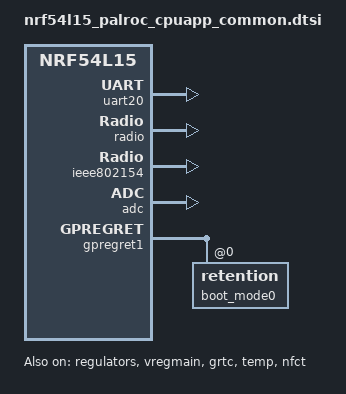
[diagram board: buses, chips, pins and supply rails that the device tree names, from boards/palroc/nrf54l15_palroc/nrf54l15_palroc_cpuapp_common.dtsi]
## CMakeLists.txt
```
#
# Copyright (c) 2016 Intel Corporation
#
# SPDX-License-Identifier: Apache-2.0
#

cmake_minimum_required(VERSION 3.20.0)
find_package(Zephyr REQUIRED HINTS $ENV{ZEPHYR_BASE})
project(nrf54l15_palroc_bringup)

target_sources(app PRIVATE
	src/main.c
	src/test_report.c
	src/uart_chat.c
	# src/wifi_probe.c — Wi-Fi host is the 9151 on EVT1; see
	# evt_bringup/nrf9151_bringup/src/wifi_probe.c
)
```

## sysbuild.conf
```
# Disable MCUboot for bring-up builds.
# Without MCUboot, the app runs directly from address 0x0.
SB_CONFIG_BOOTLOADER_MCUBOOT=n

# nRF7000 Wi-Fi enablement lives on the 9151 side on EVT1 — see
# evt_bringup/nrf9151_bringup/sysbuild.conf for the SB_CONFIG_WIFI_*
# entries. The L15 doesn't host Wi-Fi here.
```

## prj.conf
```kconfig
CONFIG_LOG=y
CONFIG_GPIO=y

# RTT console — routes printk() to RTT channel 0 via SWD, no UART needed
CONFIG_USE_SEGGER_RTT=y
CONFIG_RTT_CONSOLE=y
CONFIG_LOG_BACKEND_RTT=y
CONFIG_LOG_BUFFER_SIZE=4096

# Disable UART console
CONFIG_UART_CONSOLE=n
CONFIG_LOG_BACKEND_UART=n

CONFIG_CONSOLE=y
CONFIG_PRINTK=y

CONFIG_CLOCK_CONTROL_NRF_K32SRC_RC=y
CONFIG_CLOCK_CONTROL_NRF_K32SRC_XTAL=n

# Inter-MCU link to the 9151: nrf-sw-lpuart on the `dut-uart` alias
# (uart30 + REQ/RDY GPIO handshake — board-level wiring already done
# in the nova L15 dtsi). The underlying UART_30_ASYNC config lives in
# the board's _ns_defconfig; only the driver enable belongs here.
#
# CONFIG_SERIAL=y is REQUIRED — without it UART_NRFX defaults n,
# UART_30_ASYNC silently drops to n, and NRF_SW_LPUART's selects of
# UART_ASYNC_API / UART_INTERRUPT_DRIVEN fail with the Kconfig
# "selected but direct dependencies n" warnings. The 9151 prj.conf
# gets SERIAL transitively (modem lib pulls it); the L15 doesn't, so
# we set it explicitly here.
CONFIG_SERIAL=y
CONFIG_NRF_SW_LPUART=y
CONFIG_NRF_SW_LPUART_INT_DRIVEN=y
CONFIG_UART_INTERRUPT_DRIVEN=y

# hwinfo provides the factory device ID we use to derive the BLE name
# (palroc-l15-<6 hex>). Without it the link step fails with
# "undefined reference to z_impl_hwinfo_get_device_id".
CONFIG_HWINFO=y
# BLE — non-connectable broadcaster, just to validate the radio + HFXO from
# a phone scanner without depending on RTT being readable.
CONFIG_BT=y
CONFIG_BT_BROADCASTER=y
CONFIG_BT_OBSERVER=n
CONFIG_BT_PERIPHERAL=n
CONFIG_BT_CENTRAL=n
CONFIG_BT_DEVICE_NAME="palroc-l15"

# Headroom for the BT stack (non-connectable beacons are light, but the
# defaults can be tight on first turn-on). 2 KB heap is fine — no Wi-Fi
# stack runs here on EVT1; the nrf70 driver lives on the 9151 side. See
# evt_bringup/nrf9151_bringup/prj.conf for the networking + heap +
# sysbuild SB_CONFIG_WIFI_NRF70 entries.
CONFIG_MAIN_STACK_SIZE=2048
CONFIG_HEAP_MEM_POOL_SIZE=2048
```

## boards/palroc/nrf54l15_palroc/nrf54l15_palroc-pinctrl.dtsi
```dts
/*
 * Copyright (c) 2024 Nordic Semiconductor
 * SPDX-License-Identifier: Apache-2.0
 */

/* FIXME: UART20 pins are still the DK defaults (P1.4=TX, P1.5=RX, P1.6=RTS,
 * P1.7=CTS). Update once the palroc board UART pinout is confirmed.
 */

&pinctrl {
	/omit-if-no-ref/ uart20_default: uart20_default {
		group1 {
			psels = <NRF_PSEL(UART_TX, 1, 4)>,
				<NRF_PSEL(UART_RTS, 1, 6)>;
		};

		group2 {
			psels = <NRF_PSEL(UART_RX, 1, 5)>,
				<NRF_PSEL(UART_CTS, 1, 7)>;
			bias-pull-up;
		};
	};

	/omit-if-no-ref/ uart20_sleep: uart20_sleep {
		group1 {
			psels = <NRF_PSEL(UART_RX, 1, 5)>,
				<NRF_PSEL(UART_RTS, 1, 6)>,
				<NRF_PSEL(UART_CTS, 1, 7)>;
			low-power-enable;
		};

		group2 {
			psels = <NRF_PSEL(UART_TX, 1, 4)>;
			low-power-enable;
			bias-pull-up;
		};
	};
};
```

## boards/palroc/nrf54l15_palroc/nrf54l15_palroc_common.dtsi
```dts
/*
 * Copyright (c) 2024 Nordic Semiconductor ASA
 *
 * SPDX-License-Identifier: Apache-2.0
 */

#include "nrf54l15_palroc-pinctrl.dtsi"

&uart20 {
	current-speed = <115200>;
	pinctrl-0 = <&uart20_default>;
	pinctrl-1 = <&uart20_sleep>;
	pinctrl-names = "default", "sleep";
};
```

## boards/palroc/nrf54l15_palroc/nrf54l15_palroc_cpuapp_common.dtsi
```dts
/*
 * Copyright (c) 2024 Nordic Semiconductor ASA
 *
 * SPDX-License-Identifier: Apache-2.0
 */

#include "nrf54l15_palroc_common.dtsi"

/ {
	chosen {
		zephyr,console = &uart20;
		zephyr,shell-uart = &uart20;
		zephyr,uart-mcumgr = &uart20;
		zephyr,flash-controller = &rram_controller;
		zephyr,flash = &cpuapp_rram;
	};
};

&cpuapp_sram {
	status = "okay";
};

/* No 32.768 kHz crystal on XL1/XL2 on the palroc board.
 * Disable LFXO so the kernel doesn't hang waiting for it; GRTC will use
 * the internal LFRC (~250 ppm) instead. Revisit if precise timing matters.
 */
&lfxo {
	status = "disabled";
};

/* 32 MHz crystal: SMD2016-4P, CL = 8 pF.
 *
 * Note on the semantics of `load-capacitance-femtofarad`: on nRF54L this is
 * the per-pin internal load capacitor value, NOT the crystal's CL spec.
 * For a CL=Cx crystal with Cstray ≈ 1.5 pF, the math is:
 *   Cint_per_pin = 2 * (Cx - Cstray)
 * so for Cx = 8 pF → Cint ≈ 13 pF. We tune up slightly to 14 pF as a
 * starting point; the crystal+chip combo is forgiving of ±1 pF and BLE
 * is the empirical test (a phone scanner sees the beacon = HFXO is at
 * the right frequency).
 */
&hfxo {
	load-capacitors = "internal";
	load-capacitance-femtofarad = <14000>;
};

&regulators {
	status = "okay";
};

&vregmain {
	status = "okay";
	regulator-initial-mode = <NRF5X_REG_MODE_DCDC>;
};

&grtc {
	owned-channels = <0 1 2 3 4 5 6 7 8 9 10 11>;
	child-owned-channels = <7 8 9 10 11>;
	status = "okay";
};

&uart20 {
	status = "okay";
};

&gpio0 {
	status = "okay";
};

&gpio1 {
	status = "okay";
};

&gpio2 {
	status = "okay";
};

&gpiote20 {
	status = "okay";
};

&gpiote30 {
	status = "okay";
};

&clock {
	status = "okay";
};

&temp {
	status = "okay";
};

&radio {
	status = "okay";
};

&ieee802154 {
	status = "okay";
};

&nfct {
	status = "okay";
};

&adc {
	status = "okay";
};

&gpregret1 {
	status = "okay";

	boot_mode0: boot_mode@0 {
		compatible = "zephyr,retention";
		status = "okay";
		reg = <0x0 0x1>;
	};
};
```

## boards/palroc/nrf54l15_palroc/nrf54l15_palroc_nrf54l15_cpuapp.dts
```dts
/*
 * Copyright (c) 2024 Nordic Semiconductor ASA
 *
 * SPDX-License-Identifier: Apache-2.0
 */

/dts-v1/;

#include <nordic/nrf54l15_cpuapp.dtsi>
#include "nrf54l15_palroc_cpuapp_common.dtsi"

/ {
	compatible = "palroc,nrf54l15_palroc-cpuapp";
	model = "palroc nRF54L15";

	chosen {
		zephyr,code-partition = &slot0_partition;
		zephyr,sram = &cpuapp_sram;
	};
};

/* Include default memory partition configuration file */
#include <vendor/nordic/nrf54l15_cpuapp_partition.dtsi>
```

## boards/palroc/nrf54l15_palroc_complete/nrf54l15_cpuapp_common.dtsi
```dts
/*
 * Copyright (c) 2024 Nordic Semiconductor ASA
 *
 * SPDX-License-Identifier: Apache-2.0
 */

/* This file is common to the secure and non-secure domain */

#include "nrf54l15_palroc_complete_common.dtsi"

/ {
	chosen {
		zephyr,flash-controller = &rram_controller;
		zephyr,flash = &cpuapp_rram;
		zephyr,ieee802154 = &ieee802154;
		zephyr,boot-mode = &boot_mode0;
	};
};

&cpuapp_sram {
	status = "okay";
};

/* No 32 kHz crystal on XL1/XL2 on the palroc board.
 * Disable LFXO so the kernel doesn't hang at boot waiting for it; GRTC will
 * use the internal LFRC instead. Combined with CONFIG_CLOCK_CONTROL_NRF_K32SRC_RC=y
 * and CONFIG_CLOCK_CONTROL_NRF_K32SRC_XTAL=n in prj.conf, this is the documented
 * K32SRC RC fix. Removing this disable will silently brick the boot.
 */
&lfxo {
	status = "disabled";
};

/* 32 MHz crystal: SMD2016-4P, CL = 8 pF, no external load caps on the
 * palroc board (XL1/XL2 are direct to the crystal pads). On nRF54L the
 * load-capacitance-femtofarad value is the *per-pin internal* load cap,
 * NOT the crystal's CL spec. With Cx = 8 pF and Cstray ≈ 1.5 pF:
 *   Cint_per_pin = 2 * (Cx - Cstray) = 13 pF
 * Tuned to 14 pF empirically — BLE-visible-on-phone-scanner is the
 * acceptance test. Pin Planner's default `external` setting is wrong
 * for this board and will silently break BLE advertising.
 */
&hfxo {
	load-capacitors = "internal";
	load-capacitance-femtofarad = <14000>;
};

&regulators {
	status = "okay";
};

&vregmain {
	status = "okay";
	regulator-initial-mode = <NRF5X_REG_MODE_DCDC>;
};

&grtc {
	owned-channels = <0 1 2 3 4 5 6 7 8 9 10 11>;
	/* Channels 7-11 reserved for Zero Latency IRQs, 3-4 for FLPR */
	child-owned-channels = <3 4 7 8 9 10 11>;
	status = "okay";
};

&gpio0 {
	status = "okay";
};

&gpio1 {
	status = "okay";
};


&gpio2 {
	status = "okay";
};


&gpiote20 {
	status = "okay";
};

&gpiote30 {
	status = "okay";
};

&radio {
	status = "okay";
};

&ieee802154 {
	status = "okay";
};

&temp {
	status = "okay";
};

&clock {
	status = "okay";
};

&gpregret1 {
	status = "okay";

	boot_mode0: boot_mode@0 {
		compatible = "zephyr,retention";
		status = "okay";
		reg = <0x0 0x1>;
	};
};
```

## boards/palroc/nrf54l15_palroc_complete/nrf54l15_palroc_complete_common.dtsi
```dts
/*
 * Copyright (c) 2024 Nordic Semiconductor ASA
 * SPDX-License-Identifier: Apache-2.0
 */


#include "nrf54l15_palroc_complete_nrf54l15-pinctrl.dtsi"


&nfct {
	status = "okay";
};

&spi00 {
	status = "okay";
	pinctrl-0 = <&spi00_default>;
	pinctrl-1 = <&spi00_sleep>;
	pinctrl-names = "default", "sleep";
	/* CS pin: P2.5 */
	cs-gpios = <&gpio2 5 GPIO_ACTIVE_LOW>,
		   <&gpio1 14 GPIO_ACTIVE_LOW>;
};

&spi21 {
	status = "okay";
	pinctrl-0 = <&spi21_default>;
	pinctrl-1 = <&spi21_sleep>;
	pinctrl-names = "default", "sleep";
	/* CS pin: P2.10 */
	cs-gpios = <&gpio2 10 GPIO_ACTIVE_LOW>;
};

&i2c20 {
	/* Disabled: P1.4 (SCL) / P1.5 (SDA) are physically shared with the
	 * 9151's I2C2 master. Enabling i2c20 here makes the L15 a contending
	 * TWI master on the same lines. Keep disabled until the cross-MCU bus
	 * arbitration protocol exists (see firmware_handoff.md item 1).
	 */
	status = "disabled";
	pinctrl-0 = <&i2c20_default>;
	pinctrl-1 = <&i2c20_sleep>;
	pinctrl-names = "default", "sleep";
	clock-frequency = <I2C_BITRATE_STANDARD>;
};

/* uart30 = nrf-sw-lpuart inter-MCU link to the 9151.
 * Underlying UART runs async; REQ/RDY GPIOs replace hardware flow control.
 * The wired CTS/RTS pair (P0.02 / P0.03) is left as a backup — if REQ/RDY
 * misbehave, retarget the lpuart child below to those pins (and put the
 * data RX back on P0.01).
 */
&uart30 {
	status = "okay";
	pinctrl-0 = <&uart30_default>;
	pinctrl-1 = <&uart30_sleep>;
	pinctrl-names = "default", "sleep";
	current-speed = <115200>;
	/delete-property/ hw-flow-control;

	lpuart: nrf-sw-lpuart {
		compatible = "nordic,nrf-sw-lpuart";
		status = "okay";
		/* TODO (FW engineer): confirm REQ/RDY pin numbers against the
		 * new palroc_complete schematic. In the prior board variant
		 * these were L15 P1.12 (REQ) and P1.11 (RDY).
		 * Pin numbers are (port * 32) + pin: P1.12 = 44, P1.11 = 43.
		 */
		req-pin = <44>;   /* placeholder: P1.12 */
		rdy-pin = <43>;   /* placeholder: P1.11 */
	};
};

/ {
	/* OUTPUT — L15 drives HIGH to close the TCK106AG load switch and
	 * power up the nRF7000 BUCK rail. Active-HIGH per TCK106AG "G" variant.
	 */
	wifi_buck_en: wifi_buck_en {
		gpios = <&gpio1 0 GPIO_ACTIVE_HIGH>;
	};

	/* OUTPUT — L15 drives HIGH to close the second TCK106AG and power up
	 * the nRF7000 IOVDD rail. Sequenced ~5 ms after wifi_buck_en.
	 */
	wifi_vddio_ctrl: wifi_vddio_ctrl {
		gpios = <&gpio1 1 GPIO_ACTIVE_HIGH>;
	};

	/* INPUT — nRF7000 drives HIGH to signal "data ready for host". L15
	 * reads via interrupt or polling. Configure with GPIO_INPUT.
	 */
	wifi_host_irq: wifi_host_irq {
		gpios = <&gpio1 6 GPIO_ACTIVE_HIGH>;
	};

	/* OUTPUT — L15 (BLE) drives HIGH to request radio access from the
	 * coex coordinator (nRF7000). Part of the Wi-Fi/BLE coex handshake.
	 */
	wifi_coex_req: wifi_coex_req {
		gpios = <&gpio1 7 GPIO_ACTIVE_HIGH>;
	};

	/* OUTPUT — L15 drives to indicate its current radio state to the
	 * coex coordinator. Confirm direction against schematic if in doubt.
	 */
	wifi_coex_status: wifi_coex_status {
		gpios = <&gpio1 8 GPIO_ACTIVE_HIGH>;
	};

	/* OUTPUT — L15 drives HIGH at boot to gate the RV2C010UNT2L FET and
	 * power the BGS12SN6E6 RF switch VDD. Bench-validated polarity.
	 */
	rffe_ble_wifi_enable: rffe_ble_wifi_enable {
		gpios = <&gpio1 10 GPIO_ACTIVE_HIGH>;
	};

	/* INPUT — nRF7000 drives HIGH when granting the L15 radio access.
	 * L15 must hold off transmissions while this is LOW.
	 */
	wifi_coex_grant: wifi_coex_grant {
		gpios = <&gpio1 13 GPIO_ACTIVE_HIGH>;
	};

	/* INPUT — nRF7000 drives HIGH when it is using the 2.4 GHz band, so
	 * the L15 (BLE on the same band) can sense potential interference.
	 */
	wifi_uses_2_4g: wifi_uses_2_4g {
		gpios = <&gpio0 4 GPIO_ACTIVE_HIGH>;
	};
};
```

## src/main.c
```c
/*
 * Copyright (c) 2025 PALROC SL
 *
 * SPDX-License-Identifier: Apache-2.0
 */

#include <stdio.h>
#include <string.h>
#include <zephyr/kernel.h>
#include <zephyr/logging/log.h>
#include <zephyr/device.h>
#include <zephyr/drivers/gpio.h>
#include <zephyr/drivers/hwinfo.h>
#include <zephyr/bluetooth/bluetooth.h>

#include "test_report.h"
#include "uart_chat.h"

LOG_MODULE_REGISTER(main, LOG_LEVEL_INF);

/* BLE name = "palroc-l15-<6 hex digits from chip ID>". Built once at
 * boot from the L15 SoC's factory-programmed unique device ID, so it's
 * stable across reboots and unique per board. Used as the advertising
 * NAME_COMPLETE field AND echoed back to the 9151 in the BLE_READY
 * reply so the demo log shows the exact name the phone scanner will
 * see. */
#define BLE_NAME_PREFIX "palroc-l15-"
static char ble_name[sizeof(BLE_NAME_PREFIX) + 6];
static bool ble_started;

static void compute_ble_name(void)
{
	uint8_t id[16];
	ssize_t n = hwinfo_get_device_id(id, sizeof(id));

	if (n < 3) {
		/* Fallback: deterministic-looking placeholder so the demo
		 * still has a complete name to advertise. */
		snprintf(ble_name, sizeof(ble_name), BLE_NAME_PREFIX "000000");
		LOG_WRN("hwinfo unavailable (n=%d) — using fallback BLE name",
			(int)n);
		return;
	}
	snprintf(ble_name, sizeof(ble_name), BLE_NAME_PREFIX "%02x%02x%02x",
		 id[n - 3], id[n - 2], id[n - 1]);
}

/* Bring BLE up (bt_enable + bt_le_adv_start) with the chip-ID-derived
 * name. Idempotent — second + later calls just no-op.
 *
 * Called only from on_uart_line() when the 9151 sends "BLE_START",
 * which happens after the 9151 has finished its cellular + Wi-Fi tests
 * and powered the nRF7000 off. The L15 is radio-silent until then so
 * it can't disturb the Wi-Fi scan. */
static void ensure_ble_advertising(void)
{
	if (ble_started) {
		return;
	}

	int err = bt_enable(NULL);
	if (err) {
		LOG_ERR("bt_enable failed: %d", err);
		test_report("ble_init", TEST_FAIL, "bt_enable err %d", err);
		return;
	}
	LOG_INF("BT stack initialised");
	test_report("ble_init", TEST_PASS, "bt_enable OK");

	const struct bt_data ad[] = {
		BT_DATA_BYTES(BT_DATA_FLAGS,
			      (BT_LE_AD_GENERAL | BT_LE_AD_NO_BREDR)),
		BT_DATA(BT_DATA_NAME_COMPLETE, ble_name, strlen(ble_name)),
	};

	err = bt_le_adv_start(BT_LE_ADV_NCONN, ad, ARRAY_SIZE(ad), NULL, 0);
	if (err) {
		LOG_ERR("bt_le_adv_start failed: %d", err);
		test_report("ble_advertise", TEST_FAIL,
			    "bt_le_adv_start err %d", err);
		return;
	}

	LOG_INF("Advertising as \"%s\" (non-connectable)", ble_name);
	test_report("ble_advertise", TEST_PASS, "name=\"%s\"", ble_name);
	ble_started = true;
}

/* RX callback. Runs on the system workqueue (not in ISR context), so
 * synchronous bt_enable / advertising start is fine here. */
static void on_uart_line(const char *line)
{
	LOG_INF("[uart] <- 9151: \"%s\"", line);

	if (strcmp(line, "BLE_START") == 0) {
		/* Ensure BLE is up (idempotent — usually already up from
		 * the boot-time auto-start), then announce the name back
		 * to the 9151 so the demo log shows the trigger landed and
		 * the advertised name is current. */
		char reply[UART_CHAT_LINE_MAX];
		ensure_ble_advertising();
		if (ble_started) {
			snprintf(reply, sizeof(reply), "BLE_READY %s",
				 ble_name);
			uart_chat_send(reply);
		} else {
			uart_chat_send("BLE_FAIL adv_start");
		}
	} else if (strcmp(line, "HELLO_9151") == 0) {
		/* Link smoke test from commit 2 still answered — handy for
		 * debugging the link in isolation without triggering BLE. */
		uart_chat_send("HELLO_L15");
	}
}

/* Wi-Fi (nRF7000) host = the 9151 on EVT1. See
 * evt_bringup/nrf9151_bringup/src/wifi_probe.c. The L15 doesn't run
 * the Wi-Fi stack here. */

/* ===== PER-BOARD TRACKING ============================================
 * Change BOARD_NUMBER to match the physical board you're flashing.
 * The number appears in the test summary block and in the L15-side
 * test_summary.md record so per-board comparisons are easy.
 * ====================================================================
 */
#define BOARD_NUMBER       5
#define FW_VERSION_STRING  "0.3.0-l15-rffe-enable"

/* Shared i²c2 bus with the 9151:
 *   L15 P1.04 ↔ SDA ↔ 9151 P0.09
 *   L15 P1.05 ↔ SCL ↔ 9151 P0.08
 * The 9151 is the bus master. To make sure the L15 doesn't disturb
 * 9151-side i²c traffic, force these pins to high-Z input with no pull
 * at boot — *before* anything else runs. The L15 will be observable on
 * the bus only as a passive line; if we ever want it as a master or
 * slave, we'd configure i²c here instead.
 *
 * Inter-MCU bus arbitration on the shared SPI3 + i²c2 buses is application
 * firmware's design problem (per step 16); this bring-up's job is just
 * proving the L15 chip itself is alive.
 */
#define L15_I2C_SHARED_SDA_PIN    4
#define L15_I2C_SHARED_SCL_PIN    5
/* RFFE_BLE_WIFI_ENABLE = P1.10 — gates the BGS12SN6E6 RF switch VDD via
 * the RV2C010UNT2L gate FET. Must be HIGH for the switch to be powered.
 */
#define RFFE_BLE_WIFI_ENABLE_PIN  10

static int l15_early_gpio_init(void)
{
	const struct device *gpio1 = DEVICE_DT_GET(DT_NODELABEL(gpio1));

	if (!device_is_ready(gpio1)) {
		LOG_ERR("gpio1 not ready, can't init early GPIOs");
		return -ENODEV;
	}
	(void)gpio_pin_configure(gpio1, L15_I2C_SHARED_SDA_PIN,
				 GPIO_INPUT | GPIO_DISCONNECTED);
	(void)gpio_pin_configure(gpio1, L15_I2C_SHARED_SCL_PIN,
				 GPIO_INPUT | GPIO_DISCONNECTED);
	LOG_INF("shared i²c pins (P1.4 SDA, P1.5 SCL) parked as high-Z inputs");
	(void)gpio_pin_configure(gpio1, RFFE_BLE_WIFI_ENABLE_PIN,
				 GPIO_OUTPUT_HIGH);
	LOG_INF("RFFE_BLE_WIFI_ENABLE (P1.10) driven HIGH — RF switch powered");
	return 0;
}
SYS_INIT(l15_early_gpio_init, POST_KERNEL, 50);

/* Verify the SYS_INIT-parked i²c pins really did go high-Z and aren't
 * being held by anything else (a bus partner pulling, a stray short, etc.).
 * Reads the pin level back; with a 9151-side pull-up at idle the line
 * should read 1, with no pull-up it floats and may read 0 or 1.
 * Pass = the pin is configurable as input + read returned without error.
 */
static void test_gpio_park(void)
{
	const struct device *gpio1 = DEVICE_DT_GET(DT_NODELABEL(gpio1));

	if (!device_is_ready(gpio1)) {
		test_report("gpio_park", TEST_FAIL, "gpio1 not ready");
		return;
	}
	int sda = gpio_pin_get(gpio1, L15_I2C_SHARED_SDA_PIN);
	int scl = gpio_pin_get(gpio1, L15_I2C_SHARED_SCL_PIN);

	if (sda < 0 || scl < 0) {
		test_report("gpio_park", TEST_FAIL,
			    "read err sda=%d scl=%d", sda, scl);
		return;
	}
	test_report("gpio_park", TEST_PASS,
		    "P1.4(SDA)=%d  P1.5(SCL)=%d  (high-Z, levels passive)",
		    sda, scl);
}

int main(void)
{
	LOG_INF("nRF54L15 palroc bring-up start  BOARD=%d  fw=%s  built=%s %s",
		BOARD_NUMBER, FW_VERSION_STRING, __DATE__, __TIME__);

	/* If we got here, the kernel finished init — the LFXO/K32SRC fix
	 * (CONFIG_CLOCK_CONTROL_NRF_K32SRC_RC=y) survived another reboot.
	 * That's the chief "alive" signal for the L15 on this board. */
	test_report("boot", TEST_PASS, "kernel init OK, K32SRC_RC fix held");

	test_gpio_park();

	compute_ble_name();
	LOG_INF("BLE name reserved (will advertise on BLE_START): %s",
		ble_name);
	test_report("ble_name", TEST_PASS, "%s", ble_name);

	/* Bring up the inter-MCU link. BLE is NOT started here — the L15
	 * stays radio-silent (BLE off) through the 9151's cellular + Wi-Fi
	 * tests, so it can't interfere with the nRF7000 scan. The 9151
	 * sends "BLE_START" only after the Wi-Fi probe is done and the
	 * nRF7000 is powered off; on_uart_line() then brings BLE up and
	 * replies "BLE_READY <name>". */
	if (uart_chat_init(on_uart_line) == 0) {
		test_report("uart_link", TEST_PASS,
			    "dut-uart up, waiting for BLE_START");
	} else {
		test_report("uart_link", TEST_FAIL, "dut-uart not ready");
	}

	test_report_summary(BOARD_NUMBER, FW_VERSION_STRING);

	int n = 0;
	while (1) {
		k_sleep(K_SECONDS(10));
		LOG_INF("alive t=%ds (BLE %s)", ++n * 10,
			ble_started ? "advertising" : "waiting for BLE_START");
	}
	return 0;
}
```

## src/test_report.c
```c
/*
 * Copyright (c) 2025 PALROC SL
 *
 * SPDX-License-Identifier: Apache-2.0
 */

#include <zephyr/kernel.h>
#include <zephyr/logging/log.h>
#include <stdarg.h>
#include <stdio.h>
#include <string.h>

#include "test_report.h"

LOG_MODULE_REGISTER(test_report, LOG_LEVEL_INF);

#define MAX_TESTS       16
#define MAX_NAME_LEN    24
#define MAX_DETAIL_LEN  72

struct test_record {
	char           name[MAX_NAME_LEN];
	test_result_t  result;
	char           detail[MAX_DETAIL_LEN];
};

static struct test_record records[MAX_TESTS];
static int                n_records;
static bool               overflow_warned;

void test_report(const char *name, test_result_t result,
		 const char *detail_fmt, ...)
{
	if (n_records >= MAX_TESTS) {
		if (!overflow_warned) {
			LOG_WRN("test_report: capacity reached (%d), dropping further reports",
				MAX_TESTS);
			overflow_warned = true;
		}
		return;
	}

	struct test_record *r = &records[n_records++];

	strncpy(r->name, name ? name : "(unnamed)", sizeof(r->name) - 1);
	r->name[sizeof(r->name) - 1] = '\0';
	r->result = result;

	if (detail_fmt) {
		va_list ap;

		va_start(ap, detail_fmt);
		vsnprintf(r->detail, sizeof(r->detail), detail_fmt, ap);
		va_end(ap);
	} else {
		r->detail[0] = '\0';
	}
}

static const char *result_str(test_result_t r)
{
	switch (r) {
	case TEST_PASS: return "PASS";
	case TEST_FAIL: return "FAIL";
	case TEST_SKIP: return "SKIP";
	case TEST_INFO: return "INFO";
	default:        return "????";
	}
}

void test_report_summary(int board_number, const char *fw_version)
{
	int pass = 0, fail = 0, skip = 0, info = 0;

	LOG_INF("");
	LOG_INF("=========================================================");
	LOG_INF("=== L15 BOARD %d  fw=%s  TEST SUMMARY ===",
		board_number, fw_version ? fw_version : "?");
	LOG_INF("=========================================================");
	for (int i = 0; i < n_records; i++) {
		switch (records[i].result) {
		case TEST_PASS: pass++; break;
		case TEST_FAIL: fail++; break;
		case TEST_SKIP: skip++; break;
		case TEST_INFO: info++; break;
		}
		LOG_INF("  [%s] %-22s %s",
			result_str(records[i].result),
			records[i].name,
			records[i].detail);
	}
	LOG_INF("---------------------------------------------------------");
	LOG_INF("=== L15 BOARD %d totals: PASS=%d  FAIL=%d  INFO=%d  SKIP=%d ===",
		board_number, pass, fail, info, skip);
	LOG_INF("=========================================================");
	LOG_INF("");
}
```

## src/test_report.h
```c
/*
 * Copyright (c) 2025 PALROC SL
 *
 * SPDX-License-Identifier: Apache-2.0
 *
 * Per-board test reporting for the nRF54L15 sub-app. Mirrors the same
 * module in the 9151 sub-app at ../../src/test_report.{c,h}; copied
 * here because the two builds are independent Zephyr projects.
 */

#ifndef TEST_REPORT_H
#define TEST_REPORT_H

#include <stdarg.h>

typedef enum {
	TEST_PASS,
	TEST_FAIL,
	TEST_SKIP,
	TEST_INFO,
} test_result_t;

void test_report(const char *name, test_result_t result,
		 const char *detail_fmt, ...);
void test_report_summary(int board_number, const char *fw_version);

#endif
```

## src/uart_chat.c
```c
/*
 * Copyright (c) 2026 PALROC SL
 *
 * SPDX-License-Identifier: Apache-2.0
 *
 * Cross-MCU chat over nrf-sw-lpuart. See uart_chat.h for the API. This
 * implementation is identical on both MCUs — the only thing that differs
 * is which physical UART instance the `dut-uart` DT alias points at
 * (uart0 on the 9151, uart30 on the L15).
 */

#include <string.h>
#include <zephyr/kernel.h>
#include <zephyr/device.h>
#include <zephyr/drivers/uart.h>
#include <zephyr/logging/log.h>

#include "uart_chat.h"

LOG_MODULE_REGISTER(uart_chat, LOG_LEVEL_INF);

static const struct device *const dut = DEVICE_DT_GET(DT_ALIAS(dut_uart));
static uart_chat_line_cb_t line_cb;

/* Assembled in the ISR, copied to `rx_pending` and dispatched on a
 * workqueue when a '\n' (or '\r') arrives. Single-slot — if a second
 * line completes before the workqueue runs, it overwrites the first.
 * That's fine for this demo's request/response cadence; would need a
 * proper k_msgq for high-rate traffic. */
static char rx_buf[UART_CHAT_LINE_MAX];
static size_t rx_idx;
static char rx_pending[UART_CHAT_LINE_MAX];

static void rx_work_handler(struct k_work *w)
{
	ARG_UNUSED(w);
	if (line_cb) {
		line_cb(rx_pending);
	}
}
static K_WORK_DEFINE(rx_work, rx_work_handler);

/* All TX is deferred to the system workqueue: sw-lpuart's REQ/RDY
 * handshake completes via GPIOTE interrupts, and calling uart_poll_out
 * from any ISR blocks those interrupts and the send stalls partway. */
static char tx_msg[UART_CHAT_LINE_MAX];

static void tx_work_handler(struct k_work *w)
{
	ARG_UNUSED(w);
	for (const char *p = tx_msg; *p; p++) {
		uart_poll_out(dut, *p);
	}
	uart_poll_out(dut, '\n');
}
static K_WORK_DEFINE(tx_work, tx_work_handler);

static void uart_isr(const struct device *dev, void *user_data)
{
	ARG_UNUSED(user_data);

	if (!uart_irq_update(dev)) {
		return;
	}

	uint8_t c;
	while (uart_irq_rx_ready(dev)) {
		if (uart_fifo_read(dev, &c, 1) != 1) {
			continue;
		}
		if (c == '\r' || c == '\n') {
			if (rx_idx > 0) {
				rx_buf[rx_idx] = '\0';
				memcpy(rx_pending, rx_buf, rx_idx + 1);
				rx_idx = 0;
				k_work_submit(&rx_work);
			}
		} else if (rx_idx < UART_CHAT_LINE_MAX - 1) {
			rx_buf[rx_idx++] = (char)c;
		} else {
			/* Overflow — reset the buffer; this line is lost. */
			rx_idx = 0;
		}
	}
}

int uart_chat_init(uart_chat_line_cb_t on_line)
{
	if (!device_is_ready(dut)) {
		LOG_ERR("dut-uart device %s not ready", dut->name);
		return -ENODEV;
	}

	line_cb = on_line;
	uart_irq_callback_user_data_set(dut, uart_isr, NULL);
	uart_irq_rx_enable(dut);

	LOG_INF("uart_chat ready on %s (%s)", dut->name,
		on_line ? "line callback active" : "RX dropped (no cb)");
	return 0;
}

void uart_chat_send(const char *line)
{
	if (!line) {
		return;
	}
	strncpy(tx_msg, line, sizeof(tx_msg) - 1);
	tx_msg[sizeof(tx_msg) - 1] = '\0';
	LOG_INF("TX: \"%s\"", tx_msg);
	k_work_submit(&tx_work);
}

bool uart_chat_ready(void)
{
	return device_is_ready(dut);
}
```

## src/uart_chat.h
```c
/*
 * Copyright (c) 2026 PALROC SL
 *
 * SPDX-License-Identifier: Apache-2.0
 */

#ifndef UART_CHAT_H
#define UART_CHAT_H

#include <stdbool.h>

/* Cross-MCU line-based chat over the nrf-sw-lpuart link (REQ/RDY GPIO
 * handshake). Same module on the 9151 and L15 sides; both boards expose
 * the `dut-uart` DT alias that the module binds to.
 *
 * Protocol: ASCII payload terminated by '\n'. Lines must fit in
 * UART_CHAT_LINE_MAX-1 bytes (the rest is the null terminator). No
 * framing on top — keep messages short and human-readable for easy RTT
 * debug. */

#define UART_CHAT_LINE_MAX 64

/* Callback fired once per received line. Runs on the system workqueue
 * thread (NOT in ISR context), so it's safe to do anything thread-side
 * here — log, set semaphores, call uart_chat_send() back, etc.
 *
 * The `line` pointer references an internal static buffer; copy out
 * what you need before the callback returns. */
typedef void (*uart_chat_line_cb_t)(const char *line);

/* Bind to the dut-uart device, hook up the RX interrupt + workqueue,
 * and register `on_line` for incoming traffic. Returns 0 on success,
 * negative errno otherwise. Pass NULL to disable line dispatch (RX
 * still happens, lines are just dropped). */
int uart_chat_init(uart_chat_line_cb_t on_line);

/* Queue a line for transmission. Adds a trailing '\n' automatically;
 * do NOT include one yourself. The actual TX runs on the system
 * workqueue (sw-lpuart TX must be in thread context, never ISR — see
 * the bring-up debug log section 5).
 *
 * Safe to call from any context (ISRs, work handlers, main thread).
 * Lines longer than UART_CHAT_LINE_MAX-1 are truncated. */
void uart_chat_send(const char *line);

/* True if the underlying uart device came up ready. */
bool uart_chat_ready(void);

#endif /* UART_CHAT_H */
```

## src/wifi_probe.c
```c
#include <zephyr/kernel.h>
#include <zephyr/logging/log.h>
#include <zephyr/logging/log_ctrl.h>
#include <zephyr/drivers/gpio.h>
#include <zephyr/fatal.h>
#include <zephyr/net/net_if.h>
#include <zephyr/net/net_mgmt.h>
#include <zephyr/net/wifi_mgmt.h>

#include "wifi_probe.h"
#include "test_report.h"

LOG_MODULE_REGISTER(wifi_probe, LOG_LEVEL_INF);

static int wifi_best_rssi;

/* Emergency power-down: drive nRF7000 BUCK_EN and IOVDD_CTL LOW so the
 * TCK106AG load switches open and the chip is fully unpowered. Used by
 * the fatal-error handler below and exposed via wifi_emergency_off()
 * for explicit calls from app code (e.g., on a button press). Idempotent
 * and ISR-safe — just toggles two GPIOs.
 *
 * On the nova L15 board these are gpio1 pin 0 (BUCK_EN) and gpio1 pin 1
 * (IOVDD_CTL) — the same physical pins the nrf70 driver references via
 * bucken-gpios / iovdd-ctrl-gpios on &nrf70 (and the labelled
 * wifi_buck_en / wifi_vddio_ctrl board nodes). We drive them by raw pin
 * number through the gpio1 controller rather than GPIO_DT_SPEC_GET,
 * because those labelled board nodes have no compatible/binding so
 * Zephyr doesn't generate the GPIO specifier macros for their `gpios`
 * property. The raw-pin path is also what the 9151 bring-up used.
 */
#define NRF7000_BUCKEN_PIN   0  /* P1.00 */
#define NRF7000_IOVDDCTL_PIN 1  /* P1.01 */

void wifi_emergency_off(void)
{
	const struct device *gpio1 = DEVICE_DT_GET(DT_NODELABEL(gpio1));

	if (!device_is_ready(gpio1)) {
		return;
	}
	(void)gpio_pin_configure(gpio1, NRF7000_IOVDDCTL_PIN, GPIO_OUTPUT_LOW);
	(void)gpio_pin_configure(gpio1, NRF7000_BUCKEN_PIN,   GPIO_OUTPUT_LOW);
}

/* Zephyr fatal-error hook. Called BEFORE the fault dump prints, so the
 * sequence in any catastrophic firmware failure is:
 *   1. Fault occurs (hard fault, stack overflow, k_oops, watchdog timeout)
 *   2. THIS HANDLER → cuts nRF7000 power
 *   3. Normal Zephyr fault dump prints to RTT
 *   4. System halts (nRF7000 stays unpowered)
 *
 * Effect: a board-burning runaway condition like the one that hurt PCB #1
 * cannot leave the Wi-Fi chip drawing power while the SoC is dead.
 */
void k_sys_fatal_error_handler(unsigned int reason, const struct arch_esf *esf)
{
	ARG_UNUSED(esf);
	wifi_emergency_off();
	LOG_PANIC();
	LOG_ERR("FATAL (reason=%u) — nRF7000 power cut as a precaution",
		reason);
}

static struct net_mgmt_event_callback scan_cb;
static K_SEM_DEFINE(scan_done_sem, 0, 1);
static int scan_result_count;

static const char *security_str(enum wifi_security_type sec)
{
	switch (sec) {
	case WIFI_SECURITY_TYPE_NONE:    return "open";
	case WIFI_SECURITY_TYPE_PSK:     return "WPA2-PSK";
	case WIFI_SECURITY_TYPE_PSK_SHA256: return "WPA2-PSK-SHA256";
	case WIFI_SECURITY_TYPE_SAE:     return "WPA3-SAE";
	case WIFI_SECURITY_TYPE_WAPI:    return "WAPI";
	case WIFI_SECURITY_TYPE_EAP:     return "WPA2-EAP";
	case WIFI_SECURITY_TYPE_WEP:     return "WEP";
	case WIFI_SECURITY_TYPE_WPA_PSK: return "WPA-PSK";
	default:                         return "?";
	}
}

/* mgmt_event is uint64_t in NCS 3.3.0 / Zephyr 4.x — it was widened from
 * uint32_t to accommodate larger event-code namespaces. With uint32_t, the
 * NET_EVENT_WIFI_* macros overflow at compile time and case-comparison
 * narrows the value, causing the wrong cases to fire (or nothing at all).
 */
static void on_scan_event(struct net_mgmt_event_callback *cb,
			  uint64_t mgmt_event, struct net_if *iface)
{
	ARG_UNUSED(iface);

	if (mgmt_event == NET_EVENT_WIFI_SCAN_RESULT) {
		const struct wifi_scan_result *r =
			(const struct wifi_scan_result *)cb->info;

		scan_result_count++;
		if (r->rssi > wifi_best_rssi) {
			wifi_best_rssi = r->rssi;
		}
		LOG_INF("  [%2d] %-32s ch=%-3d rssi=%4d dBm  %02x:%02x:%02x:%02x:%02x:%02x  %s",
			scan_result_count,
			r->ssid_length ? (const char *)r->ssid : "(hidden)",
			r->channel, r->rssi,
			r->mac[0], r->mac[1], r->mac[2],
			r->mac[3], r->mac[4], r->mac[5],
			security_str(r->security));
	} else if (mgmt_event == NET_EVENT_WIFI_SCAN_DONE) {
		const struct wifi_status *st =
			(const struct wifi_status *)cb->info;

		if (st && st->status) {
			LOG_WRN("scan completed with status=%d", st->status);
		}
		k_sem_give(&scan_done_sem);
	}
}

void wifi_passive_scan(int timeout_seconds)
{
	struct net_if *iface = net_if_get_first_wifi();

	if (!iface) {
		LOG_ERR("no Wi-Fi interface — driver bound? (CONFIG_WIFI_NRF70)");
		test_report("wifi", TEST_FAIL, "no Wi-Fi netif registered");
		return;
	}

	LOG_INF("Wi-Fi interface ready (ifindex %d), waiting for it to come up...",
		net_if_get_by_iface(iface));

	/* Wait for the netif to be administratively up. The first scan
	 * attempt right after boot returned -EINPROGRESS (-115) because the
	 * driver was still finishing its async startup. Polling
	 * net_if_is_admin_up() for up to 3 s lets the driver finish without
	 * us having to guess the right delay.
	 */
	for (int i = 0; i < 30; i++) {
		if (net_if_is_admin_up(iface)) {
			break;
		}
		k_msleep(100);
	}
	if (!net_if_is_admin_up(iface)) {
		LOG_WRN("netif still not admin-up after 3 s — proceeding anyway");
	}

	net_mgmt_init_event_callback(&scan_cb, on_scan_event,
				     NET_EVENT_WIFI_SCAN_RESULT |
				     NET_EVENT_WIFI_SCAN_DONE);
	net_mgmt_add_event_callback(&scan_cb);

	/* Antenna covers 2.4 GHz + 5 GHz, so request both bands.
	 * `bands` is a bitmask: BIT(WIFI_FREQ_BAND_2_4_GHZ) | BIT(...5_GHZ).
	 * Passive-only is mandatory on this board (nPM1300 BUCK current
	 * limit 250 mA — see steps.md step 9).
	 */
	struct wifi_scan_params params = {
		.scan_type = WIFI_SCAN_TYPE_PASSIVE,
		.bands = BIT(WIFI_FREQ_BAND_2_4_GHZ) |
			 BIT(WIFI_FREQ_BAND_5_GHZ),
		.dwell_time_passive = 100,  /* ms per channel */
	};

	scan_result_count = 0;
	wifi_best_rssi = -127;
	k_sem_reset(&scan_done_sem);

	int err = net_mgmt(NET_REQUEST_WIFI_SCAN, iface, &params,
			   sizeof(params));
	if (err) {
		LOG_ERR("net_mgmt(SCAN) failed: %d (driver/PMIC issue? "
			"check BUCKEN/IOVDD-CTL on multimeter)", err);
		net_mgmt_del_event_callback(&scan_cb);
		test_report("wifi", TEST_FAIL,
			    "net_mgmt(SCAN) err %d", err);
		return;
	}

	int sem_err = k_sem_take(&scan_done_sem, K_SECONDS(timeout_seconds));

	net_mgmt_del_event_callback(&scan_cb);

	if (sem_err) {
		LOG_WRN("scan timed out after %d s, results so far: %d",
			timeout_seconds, scan_result_count);
		test_report("wifi", scan_result_count > 0 ? TEST_PASS : TEST_FAIL,
			    "timeout, %d APs", scan_result_count);
		return;
	}

	LOG_INF("scan complete: %d AP%s seen", scan_result_count,
		scan_result_count == 1 ? "" : "s");

	if (scan_result_count == 0) {
		LOG_WRN("no APs found — antenna routed to Wi-Fi path? "
			"(check RF switch VC / SW_CTRL0 / RV2C010UNT2L MOSFET)");
		test_report("wifi", TEST_FAIL, "0 APs found");
	} else {
		test_report("wifi", TEST_PASS,
			    "%d APs, best RSSI %d dBm",
			    scan_result_count, wifi_best_rssi);
	}
}
```
